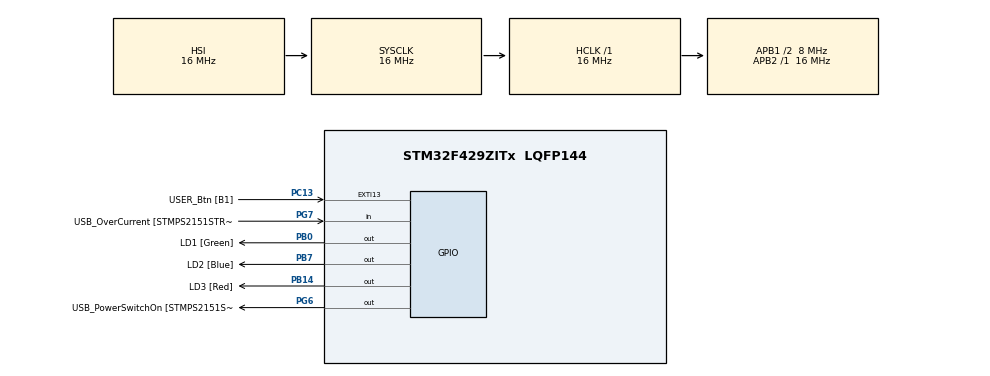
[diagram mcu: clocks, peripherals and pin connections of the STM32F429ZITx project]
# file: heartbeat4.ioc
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Mcu.Family=STM32F4
Mcu.Name=STM32F429ZITx
Mcu.Package=LQFP144
NVIC.EXTI15_10_IRQn=true\:0\:0\:false\:false\:true\:true\:true
NVIC.PriorityGroup=NVIC_PRIORITYGROUP_4
NVIC.TIM3_IRQn=true\:0\:0\:false\:false\:true\:true\:true
PA1.GPIO_Label=RMII_REF_CLK [LAN8742A-CZ-TR_REFCLK0]
PA1.Signal=ETH_REF_CLK
PA10.GPIO_Label=USB_ID
PA10.Signal=USB_OTG_FS_ID
PA11.GPIO_Label=USB_DM
PA11.Signal=USB_OTG_FS_DM
PA12.GPIO_Label=USB_DP
PA12.Signal=USB_OTG_FS_DP
PA13.GPIO_Label=TMS
PA13.Signal=SYS_JTMS-SWDIO
PA14.GPIO_Label=TCK
PA14.Signal=SYS_JTCK-SWCLK
PA2.GPIO_Label=RMII_MDIO [LAN8742A-CZ-TR_MDIO]
PA2.Signal=ETH_MDIO
PA7.GPIO_Label=RMII_CRS_DV [LAN8742A-CZ-TR_CRS_DV]
PA7.Signal=ETH_CRS_DV
PA8.GPIO_Label=USB_SOF [TP1]
PA8.Signal=USB_OTG_FS_SOF
PA9.GPIO_Label=USB_VBUS
PA9.Signal=USB_OTG_FS_VBUS
PB0.GPIO_Label=LD1 [Green]
PB0.Signal=GPIO_Output
PB13.GPIO_Label=RMII_TXD1 [LAN8742A-CZ-TR_TXD1]
PB13.Signal=ETH_TXD1
PB14.GPIO_Label=LD3 [Red]
PB14.Signal=GPIO_Output
PB7.GPIO_Label=LD2 [Blue]
PB7.Signal=GPIO_Output
PC1.GPIO_Label=RMII_MDC [LAN8742A-CZ-TR_MDC]
PC1.Signal=ETH_MDC
PC13.GPIO_Label=USER_Btn [B1]
PC13.GPIO_ModeDefaultEXTI=GPIO_MODE_IT_RISING
PC13.Signal=GPXTI13
PC14/OSC32_IN.Signal=RCC_OSC32_IN
PC15/OSC32_OUT.Signal=RCC_OSC32_OUT
PC4.GPIO_Label=RMII_RXD0 [LAN8742A-CZ-TR_RXD0]
PC4.Signal=ETH_RXD0
PC5.GPIO_Label=RMII_RXD1 [LAN8742A-CZ-TR_RXD1]
PC5.Signal=ETH_RXD1
PD8.GPIO_Label=STLK_RX [STM32F103CBT6_PA3]
PD8.Signal=USART3_TX
PD9.GPIO_Label=STLK_TX [STM32F103CBT6_PA2]
PD9.Signal=USART3_RX
PG11.GPIO_Label=RMII_TX_EN [LAN8742A-CZ-TR_TXEN]
PG11.Signal=ETH_TX_EN
PG13.GPIO_Label=RMII_TXD0 [LAN8742A-CZ-TR_TXD0]
PG13.Signal=ETH_TXD0
PG6.GPIO_Label=USB_PowerSwitchOn [STMPS2151STR_EN]
PG6.Signal=GPIO_Output
PG7.GPIO_Label=USB_OverCurrent [STMPS2151STR_FAULT]
PG7.Signal=GPIO_Input
PH0/OSC_IN.GPIO_Label=MCO [STM32F103CBT6_PA8]
PH0/OSC_IN.Signal=RCC_OSC_IN
PH1/OSC_OUT.Signal=RCC_OSC_OUT
ProjectManager.HeapSize=0x200
ProjectManager.StackSize=0x400
ProjectManager.TargetToolchain=TrueSTUDIO
RCC.48MHZClocksFreq_Value=48000000
RCC.AHBFreq_Value=16000000
RCC.APB1CLKDivider=RCC_HCLK_DIV2
RCC.APB1Freq_Value=8000000
RCC.APB1TimFreq_Value=16000000
RCC.APB2Freq_Value=16000000
RCC.APB2TimFreq_Value=16000000
RCC.CortexFreq_Value=16000000
RCC.HCLKFreq_Value=16000000
RCC.HSE_VALUE=8000000
RCC.HSI_VALUE=16000000
RCC.LSE_VALUE=32768
RCC.PLLMUL=RCC_PLL_MUL9
RCC.PRESCALERUSB=RCC_USBCLKSOURCE_PLL_DIV1_5
RCC.SYSCLKFreq_VALUE=16000000
RCC.SYSCLKSourceVirtual=RCC_SYSCLKSOURCE_PLLCLK
RCC.USBFreq_Value=48000000
RCC.VCOOutputFreq_Value=192000000
TIM3.Period=200
TIM3.Prescaler=65535
VP_TIM3_VS_ClockSourceINT.Mode=Internal
board=NUCLEO-F429ZI

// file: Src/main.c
/* USER CODE BEGIN Header */
/**
  ******************************************************************************
  * @file           : main.c
  * @brief          : Main program body
  ******************************************************************************
  * @attention
  *
  * <h2><center>&copy; Copyright (c) 2019 STMicroelectronics.
  * All rights reserved.</center></h2>
  *
  * This software component is licensed by ST under BSD 3-Clause license,
  * the "License"; You may not use this file except in compliance with the
  * License. You may obtain a copy of the License at:
  *                        opensource.org/licenses/BSD-3-Clause
  *
  ******************************************************************************
  */
/* USER CODE END Header */

#include "main.h"

TIM_HandleTypeDef htim3;

/* USER CODE BEGIN PV */
uint16_t blink = 1;
uint16_t  Toggle_LED = 1;
/* USER CODE END PV */

void SystemClock_Config(void);
static void MX_GPIO_Init(void);
static void MX_GFXSIMULATOR_Init(void);
static void MX_TIM3_Init(void);

/* USER CODE BEGIN 0 */
void HAL_GPIO_EXTI_Callback(uint16_t GPIO_Pin)
{
  /* NOTE: This function Should not be modified, when the callback is needed,
           the HAL_GPIO_EXTI_Callback could be implemented in the user file
   */
  if (GPIO_Pin == USER_Btn_Pin)
  {
	  if (!blink)
		  blink = 1;
	  else
		  blink = 0;
  }
}

void HAL_TIM_PeriodElapsedCallback(TIM_HandleTypeDef *htim)
{
  /* Prevent unused argument(s) compilation warning */
  Toggle_LED = 1;

  /* NOTE : This function should not be modified, when the callback is needed,
            the HAL_TIM_PeriodElapsedCallback could be implemented in the user file
   */
}
/* USER CODE END 0 */

int main(void)
{

  /* MCU Configuration--------------------------------------------------------*/

  /* Reset of all peripherals, Initializes the Flash interface and the Systick. */
  HAL_Init();

  /* Configure the system clock */
  SystemClock_Config();

  /* Initialize all configured peripherals */
  MX_GPIO_Init();
  MX_GFXSIMULATOR_Init();
  MX_TIM3_Init();
  /* USER CODE BEGIN 2 */
  HAL_GPIO_WritePin(LD2_GPIO_Port, LD2_Pin, GPIO_PIN_RESET);

  /* USER CODE END 2 */

  /* Infinite loop */
  while (1)
  {

    /* USER CODE BEGIN 3 */
	  if (blink)
	  {
		  HAL_GPIO_WritePin(LD3_GPIO_Port, LD3_Pin, GPIO_PIN_RESET);
	  	  if (Toggle_LED)
	  	  {
	  		  HAL_GPIO_TogglePin(LD2_GPIO_Port, LD2_Pin);
	  		  Toggle_LED = 0;
	  	  }
		  // HAL_Delay(5000);
	  }
	  else
	  {
		  HAL_GPIO_WritePin(LD3_GPIO_Port, LD3_Pin, GPIO_PIN_SET);
	  	  HAL_GPIO_WritePin(LD2_GPIO_Port, LD2_Pin, GPIO_PIN_RESET);
	  }
  }
  /* USER CODE END 3 */
}

void SystemClock_Config(void)
{
  RCC_OscInitTypeDef RCC_OscInitStruct = {0};
  RCC_ClkInitTypeDef RCC_ClkInitStruct = {0};

  /** Configure the main internal regulator output voltage
  */
  __HAL_RCC_PWR_CLK_ENABLE();
  __HAL_PWR_VOLTAGESCALING_CONFIG(PWR_REGULATOR_VOLTAGE_SCALE3);
  /** Initializes the CPU, AHB and APB busses clocks
  */
  RCC_OscInitStruct.OscillatorType = RCC_OSCILLATORTYPE_HSI;
  RCC_OscInitStruct.HSIState = RCC_HSI_ON;
  RCC_OscInitStruct.HSICalibrationValue = RCC_HSICALIBRATION_DEFAULT;
  RCC_OscInitStruct.PLL.PLLState = RCC_PLL_NONE;
  if (HAL_RCC_OscConfig(&RCC_OscInitStruct) != HAL_OK)
  {
    Error_Handler();
  }
  /** Initializes the CPU, AHB and APB busses clocks
  */
  RCC_ClkInitStruct.ClockType = RCC_CLOCKTYPE_HCLK|RCC_CLOCKTYPE_SYSCLK
                              |RCC_CLOCKTYPE_PCLK1|RCC_CLOCKTYPE_PCLK2;
  RCC_ClkInitStruct.SYSCLKSource = RCC_SYSCLKSOURCE_HSI;
  RCC_ClkInitStruct.AHBCLKDivider = RCC_SYSCLK_DIV1;
  RCC_ClkInitStruct.APB1CLKDivider = RCC_HCLK_DIV2;
  RCC_ClkInitStruct.APB2CLKDivider = RCC_HCLK_DIV1;

  if (HAL_RCC_ClockConfig(&RCC_ClkInitStruct, FLASH_LATENCY_0) != HAL_OK)
  {
    Error_Handler();
  }
}

static void MX_GFXSIMULATOR_Init(void)
{

}

static void MX_TIM3_Init(void)
{

  TIM_ClockConfigTypeDef sClockSourceConfig = {0};
  TIM_MasterConfigTypeDef sMasterConfig = {0};

  htim3.Instance = TIM3;
  htim3.Init.Prescaler = 65535;
  htim3.Init.CounterMode = TIM_COUNTERMODE_UP;
  htim3.Init.Period = 200;
  htim3.Init.ClockDivision = TIM_CLOCKDIVISION_DIV1;
  htim3.Init.AutoReloadPreload = TIM_AUTORELOAD_PRELOAD_DISABLE;
  if (HAL_TIM_Base_Init(&htim3) != HAL_OK)
  {
    Error_Handler();
  }
  sClockSourceConfig.ClockSource = TIM_CLOCKSOURCE_INTERNAL;
  if (HAL_TIM_ConfigClockSource(&htim3, &sClockSourceConfig) != HAL_OK)
  {
    Error_Handler();
  }
  sMasterConfig.MasterOutputTrigger = TIM_TRGO_RESET;
  sMasterConfig.MasterSlaveMode = TIM_MASTERSLAVEMODE_DISABLE;
  if (HAL_TIMEx_MasterConfigSynchronization(&htim3, &sMasterConfig) != HAL_OK)
  {
    Error_Handler();
  }
  /* USER CODE BEGIN TIM3_Init 2 */
  HAL_TIM_Base_Start_IT(&htim3);
  /* USER CODE END TIM3_Init 2 */

}

static void MX_GPIO_Init(void)
{
  GPIO_InitTypeDef GPIO_InitStruct = {0};

  /* GPIO Ports Clock Enable */
  __HAL_RCC_GPIOC_CLK_ENABLE();
  __HAL_RCC_GPIOH_CLK_ENABLE();
  __HAL_RCC_GPIOA_CLK_ENABLE();
  __HAL_RCC_GPIOB_CLK_ENABLE();
  __HAL_RCC_GPIOD_CLK_ENABLE();
  __HAL_RCC_GPIOG_CLK_ENABLE();

  /*Configure GPIO pin Output Level */
  HAL_GPIO_WritePin(GPIOB, LD1_Pin|LD3_Pin|LD2_Pin, GPIO_PIN_RESET);

  /*Configure GPIO pin Output Level */
  HAL_GPIO_WritePin(USB_PowerSwitchOn_GPIO_Port, USB_PowerSwitchOn_Pin, GPIO_PIN_RESET);

  /*Configure GPIO pin : USER_Btn_Pin */
  GPIO_InitStruct.Pin = USER_Btn_Pin;
  GPIO_InitStruct.Mode = GPIO_MODE_IT_RISING;
  GPIO_InitStruct.Pull = GPIO_NOPULL;
  HAL_GPIO_Init(USER_Btn_GPIO_Port, &GPIO_InitStruct);

  /*Configure GPIO pins : RMII_MDC_Pin RMII_RXD0_Pin RMII_RXD1_Pin */
  GPIO_InitStruct.Pin = RMII_MDC_Pin|RMII_RXD0_Pin|RMII_RXD1_Pin;
  GPIO_InitStruct.Mode = GPIO_MODE_AF_PP;
  GPIO_InitStruct.Pull = GPIO_NOPULL;
  GPIO_InitStruct.Speed = GPIO_SPEED_FREQ_VERY_HIGH;
  GPIO_InitStruct.Alternate = GPIO_AF11_ETH;
  HAL_GPIO_Init(GPIOC, &GPIO_InitStruct);

  /*Configure GPIO pins : RMII_REF_CLK_Pin RMII_MDIO_Pin RMII_CRS_DV_Pin */
  GPIO_InitStruct.Pin = RMII_REF_CLK_Pin|RMII_MDIO_Pin|RMII_CRS_DV_Pin;
  GPIO_InitStruct.Mode = GPIO_MODE_AF_PP;
  GPIO_InitStruct.Pull = GPIO_NOPULL;
  GPIO_InitStruct.Speed = GPIO_SPEED_FREQ_VERY_HIGH;
  GPIO_InitStruct.Alternate = GPIO_AF11_ETH;
  HAL_GPIO_Init(GPIOA, &GPIO_InitStruct);

  /*Configure GPIO pins : LD1_Pin LD3_Pin LD2_Pin */
  GPIO_InitStruct.Pin = LD1_Pin|LD3_Pin|LD2_Pin;
  GPIO_InitStruct.Mode = GPIO_MODE_OUTPUT_PP;
  GPIO_InitStruct.Pull = GPIO_NOPULL;
  GPIO_InitStruct.Speed = GPIO_SPEED_FREQ_LOW;
  HAL_GPIO_Init(GPIOB, &GPIO_InitStruct);

  /*Configure GPIO pin : RMII_TXD1_Pin */
  GPIO_InitStruct.Pin = RMII_TXD1_Pin;
  GPIO_InitStruct.Mode = GPIO_MODE_AF_PP;
  GPIO_InitStruct.Pull = GPIO_NOPULL;
  GPIO_InitStruct.Speed = GPIO_SPEED_FREQ_VERY_HIGH;
  GPIO_InitStruct.Alternate = GPIO_AF11_ETH;
  HAL_GPIO_Init(RMII_TXD1_GPIO_Port, &GPIO_InitStruct);

  /*Configure GPIO pins : STLK_RX_Pin STLK_TX_Pin */
  GPIO_InitStruct.Pin = STLK_RX_Pin|STLK_TX_Pin;
  GPIO_InitStruct.Mode = GPIO_MODE_AF_PP;
  GPIO_InitStruct.Pull = GPIO_NOPULL;
  GPIO_InitStruct.Speed = GPIO_SPEED_FREQ_VERY_HIGH;
  GPIO_InitStruct.Alternate = GPIO_AF7_USART3;
  HAL_GPIO_Init(GPIOD, &GPIO_InitStruct);

  /*Configure GPIO pin : USB_PowerSwitchOn_Pin */
  GPIO_InitStruct.Pin = USB_PowerSwitchOn_Pin;
  GPIO_InitStruct.Mode = GPIO_MODE_OUTPUT_PP;
  GPIO_InitStruct.Pull = GPIO_NOPULL;
  GPIO_InitStruct.Speed = GPIO_SPEED_FREQ_LOW;
  HAL_GPIO_Init(USB_PowerSwitchOn_GPIO_Port, &GPIO_InitStruct);

  /*Configure GPIO pin : USB_OverCurrent_Pin */
  GPIO_InitStruct.Pin = USB_OverCurrent_Pin;
  GPIO_InitStruct.Mode = GPIO_MODE_INPUT;
  GPIO_InitStruct.Pull = GPIO_NOPULL;
  HAL_GPIO_Init(USB_OverCurrent_GPIO_Port, &GPIO_InitStruct);

  /*Configure GPIO pins : USB_SOF_Pin USB_ID_Pin USB_DM_Pin USB_DP_Pin */
  GPIO_InitStruct.Pin = USB_SOF_Pin|USB_ID_Pin|USB_DM_Pin|USB_DP_Pin;
  GPIO_InitStruct.Mode = GPIO_MODE_AF_PP;
  GPIO_InitStruct.Pull = GPIO_NOPULL;
  GPIO_InitStruct.Speed = GPIO_SPEED_FREQ_VERY_HIGH;
  GPIO_InitStruct.Alternate = GPIO_AF10_OTG_FS;
  HAL_GPIO_Init(GPIOA, &GPIO_InitStruct);

  /*Configure GPIO pin : USB_VBUS_Pin */
  GPIO_InitStruct.Pin = USB_VBUS_Pin;
  GPIO_InitStruct.Mode = GPIO_MODE_INPUT;
  GPIO_InitStruct.Pull = GPIO_NOPULL;
  HAL_GPIO_Init(USB_VBUS_GPIO_Port, &GPIO_InitStruct);

  /*Configure GPIO pins : RMII_TX_EN_Pin RMII_TXD0_Pin */
  GPIO_InitStruct.Pin = RMII_TX_EN_Pin|RMII_TXD0_Pin;
  GPIO_InitStruct.Mode = GPIO_MODE_AF_PP;
  GPIO_InitStruct.Pull = GPIO_NOPULL;
  GPIO_InitStruct.Speed = GPIO_SPEED_FREQ_VERY_HIGH;
  GPIO_InitStruct.Alternate = GPIO_AF11_ETH;
  HAL_GPIO_Init(GPIOG, &GPIO_InitStruct);

  /* EXTI interrupt init*/
  HAL_NVIC_SetPriority(EXTI15_10_IRQn, 0, 0);
  HAL_NVIC_EnableIRQ(EXTI15_10_IRQn);

}

void Error_Handler(void)
{
}

/************************ (C) COPYRIGHT STMicroelectronics *****END OF FILE****/
